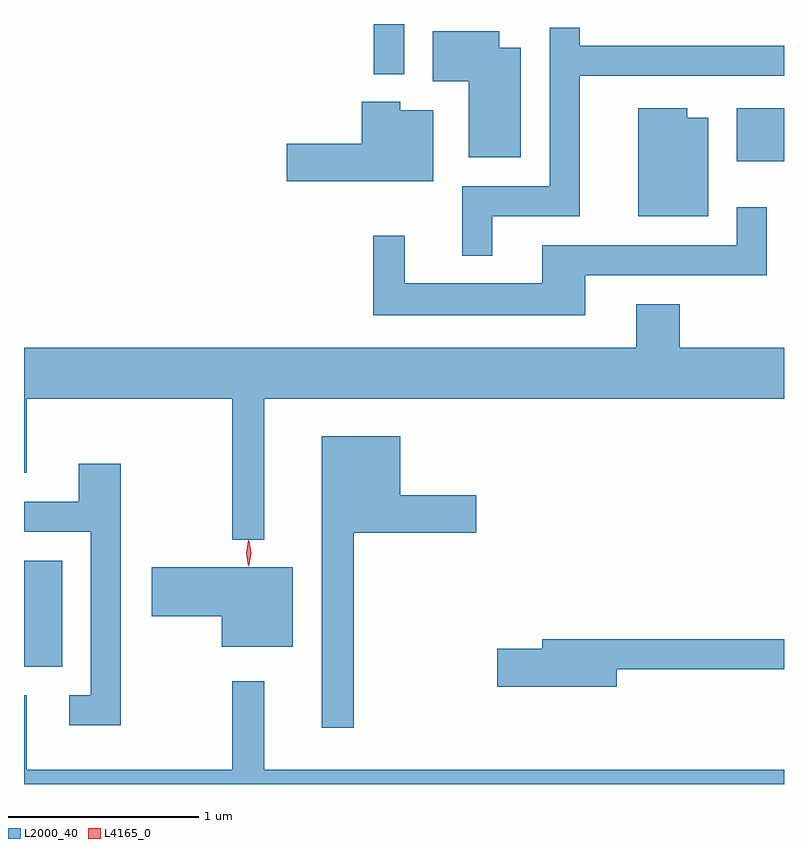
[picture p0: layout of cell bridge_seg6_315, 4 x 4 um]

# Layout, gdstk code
import gdstk
lib = gdstk.Library(unit=1e-6, precision=1e-09)
def R(c, l, rs):  # rectangles x0, y0, x1, y1
    for r in rs: c.add(gdstk.rectangle(r[:2], r[2:], *l))
def P(c, l, *ps):  # polygons
    for p in ps: c.add(gdstk.Polygon(p, *l))
L2000_40 = (2000, 40)
L4165_0 = (4165, 0)

bridge_seg6_315 = lib.new_cell('bridge_seg6_315')
R(bridge_seg6_315, L2000_40, [(1267.644,1530.866,1267.844,1531.424), (1271.396,1533.526,1271.644,1533.804), (1269.486,1533.983,1269.644,1534.248)])
P(bridge_seg6_315, L2000_40, [(1270.109,1533.236),(1270.569,1533.236),(1270.569,1533.976),(1271.644,1533.976),(1271.644,1534.134),(1270.569,1534.134),(1270.569,1534.228),(1270.411,1534.228),(1270.411,1533.394),(1269.951,1533.394),(1269.951,1533.028),(1270.109,1533.028)],
  [(1270.259,1534.124),(1270.144,1534.124),(1270.144,1534.209),(1269.796,1534.209),(1269.796,1533.946),(1269.986,1533.946),(1269.986,1533.546),(1270.259,1533.546)],
  [(1269.799,1533.794),(1269.624,1533.794),(1269.624,1533.839),(1269.421,1533.839),(1269.421,1533.619),(1269.026,1533.619),(1269.026,1533.421),(1269.799,1533.421)],
  [(1271.244,1533.754),(1271.134,1533.754),(1271.134,1533.804),(1270.876,1533.804),(1270.876,1533.236),(1271.244,1533.236)],
  [(1270.599,1532.926),(1271.554,1532.926),(1271.554,1533.283),(1271.396,1533.283),(1271.396,1533.084),(1270.371,1533.084),(1270.371,1532.884),(1269.649,1532.884),(1269.649,1533.133),(1269.481,1533.133),(1269.481,1532.716),(1270.599,1532.716)],
  [(1268.909,1532.276),(1271.644,1532.276),(1271.644,1532.544),(1271.094,1532.544),(1271.094,1532.774),(1270.866,1532.774),(1270.866,1532.544),(1267.644,1532.544),(1267.644,1531.886),(1267.659,1531.886),(1267.659,1532.276),(1268.741,1532.276),(1268.741,1531.533),(1268.909,1531.533)],
  [(1269.379,1531.571),(1270.024,1531.571),(1270.024,1531.769),(1269.624,1531.769),(1269.624,1532.079),(1269.211,1532.079),(1269.211,1530.543),(1269.379,1530.543)],
  [(1268.154,1531.934),(1267.931,1531.934),(1267.931,1531.734),(1267.644,1531.734),(1267.644,1531.576),(1267.996,1531.576),(1267.996,1530.714),(1267.883,1530.714),(1267.883,1530.556),(1268.154,1530.556)],
  [(1269.059,1531.389),(1268.316,1531.389),(1268.316,1531.131),(1268.686,1531.131),(1268.686,1530.971),(1269.059,1530.971)],
  [(1270.764,1530.851),(1271.644,1530.851),(1271.644,1531.009),(1270.371,1531.009),(1270.371,1530.959),(1270.136,1530.959),(1270.136,1530.761),(1270.764,1530.761)],
  [(1271.644,1530.324),(1268.909,1530.324),(1268.909,1530.788),(1268.741,1530.788),(1268.741,1530.324),(1267.659,1530.324),(1267.659,1530.714),(1267.644,1530.714),(1267.644,1530.248),(1271.644,1530.248)])
P(bridge_seg6_315, L4165_0, [(1268.823,1531.394),(1268.814,1531.462),(1268.823,1531.53),(1268.823,1531.53),(1268.824,1531.53),(1268.833,1531.462),(1268.824,1531.394),(1268.824,1531.394)],
  [(1268.828,1531.4),(1268.819,1531.464),(1268.828,1531.526),(1268.828,1531.527),(1268.829,1531.526),(1268.839,1531.464),(1268.83,1531.4),(1268.829,1531.4)])

lib.write_gds('bridge_seg6_315.gds')
